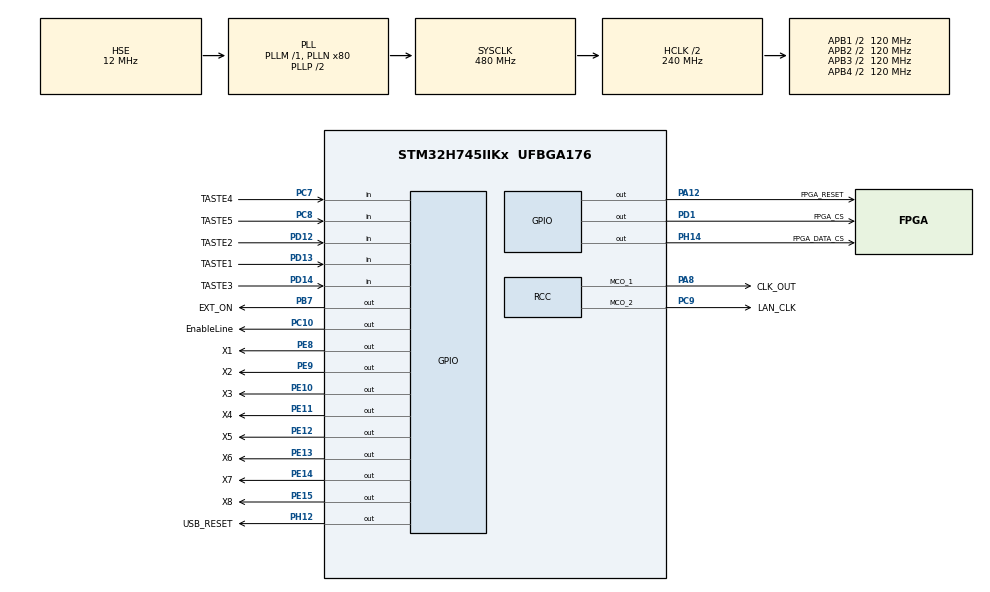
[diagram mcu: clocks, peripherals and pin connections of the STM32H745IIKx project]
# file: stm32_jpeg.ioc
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CORTEX_M7.CPU_DCache=Enabled
CORTEX_M7.CPU_ICache=Enabled
CortexM4.IPs=CORTEX_M4\:I,DEBUG,FATFS_M4\:I,FREERTOS_M4\:I,IWDG2\:I,OPENAMP_M4\:I,PDM2PCM_M4\:I,PWR,RCC,RESMGR_UTILITY,SYS_M4\:I,USB_DEVICE_M4\:I,USB_HOST_M4\:I,VREFBUF,WWDG2\:I,DMA,BDMA,MDMA,NVIC2\:I,GPIO
CortexM7.IPs=CORTEX_M7\:I,DEBUG\:I,FATFS_M7\:I,FREERTOS_M7\:I,IWDG1\:I,OPENAMP_M7\:I,PDM2PCM_M7\:I,PWR\:I,RCC\:I,RESMGR_UTILITY\:I,SYS\:I,USB_DEVICE_M7\:I,USB_HOST_M7\:I,VREFBUF\:I,WWDG1\:I,DMA\:I,BDMA\:I,MDMA\:I,NVIC1\:I,GPIO\:I,CRC\:I,JPEG\:I
CortexM7.Pins=PD1,PB7,PH14,PA12,PC10,PC8,PC7,PD14,PD13,PD12,PE14,PE8,PH12,PE12,PE13,PE15,PE10,PE9,PE11
JPEG.JPEG_RGB_FORMAT=JPEG_RGB888
JPEG.USE_JPEG_DECODER=0
Mcu.Family=STM32H7
Mcu.Name=STM32H745IIKx
Mcu.Package=UFBGA176
NVIC1.JPEG_IRQn=true\:0\:0\:false\:false\:true\:true\:true\:true
NVIC1.PriorityGroup=NVIC_PRIORITYGROUP_4
NVIC2.PriorityGroup=NVIC_PRIORITYGROUP_4
PA12.GPIO_Label=FPGA_RESET
PA12.PinAttribute=CortexM7
PA12.Signal=GPIO_Output
PA13\ (JTMS/SWDIO).Mode=JTAG_5_pins
PA13\ (JTMS/SWDIO).PinAttribute=CortexM7
PA13\ (JTMS/SWDIO).Signal=DEBUG_JTMS-SWDIO
PA14\ (JTCK/SWCLK).Mode=JTAG_5_pins
PA14\ (JTCK/SWCLK).PinAttribute=CortexM7
PA14\ (JTCK/SWCLK).Signal=DEBUG_JTCK-SWCLK
PA15\ (JTDI).Mode=JTAG_5_pins
PA15\ (JTDI).PinAttribute=CortexM7
PA15\ (JTDI).Signal=DEBUG_JTDI
PA8.GPIO_Label=CLK_OUT
PA8.GPIO_Speed=GPIO_SPEED_FREQ_VERY_HIGH
PA8.Mode=Clock-out-1
PA8.PinAttribute=CortexM7
PA8.Signal=RCC_MCO_1
PB3\ (JTDO/TRACESWO).Mode=JTAG_5_pins
PB3\ (JTDO/TRACESWO).PinAttribute=CortexM7
PB3\ (JTDO/TRACESWO).Signal=DEBUG_JTDO-SWO
PB4\ (NJTRST).Mode=JTAG_5_pins
PB4\ (NJTRST).PinAttribute=CortexM7
PB4\ (NJTRST).Signal=DEBUG_JTRST
PB7.GPIO_Label=EXT_ON
PB7.PinAttribute=CortexM7
PB7.Signal=GPIO_Output
PC10.GPIO_Label=EnableLine
PC10.PinAttribute=CortexM7
PC10.Signal=GPIO_Output
PC7.GPIO_Label=TASTE4
PC7.PinAttribute=CortexM7
PC7.Signal=GPIO_Input
PC8.GPIO_Label=TASTE5
PC8.PinAttribute=CortexM7
PC8.Signal=GPIO_Input
PC9.GPIO_Label=LAN_CLK
PC9.GPIO_Speed=GPIO_SPEED_FREQ_VERY_HIGH
PC9.Mode=Clock-out-2
PC9.PinAttribute=CortexM7
PC9.Signal=RCC_MCO_2
PD1.GPIO_Label=FPGA_CS
PD1.PinAttribute=CortexM7
PD1.Signal=GPIO_Output
PD12.GPIO_Label=TASTE2
PD12.PinAttribute=CortexM7
PD12.Signal=GPIO_Input
PD13.GPIO_Label=TASTE1
PD13.PinAttribute=CortexM7
PD13.Signal=GPIO_Input
PD14.GPIO_Label=TASTE3
PD14.PinAttribute=CortexM7
PD14.Signal=GPIO_Input
PE10.GPIO_Label=X3
PE10.PinAttribute=CortexM7
PE10.Signal=GPIO_Output
PE11.GPIO_Label=X4
PE11.PinAttribute=CortexM7
PE11.Signal=GPIO_Output
PE12.GPIO_Label=X5
PE12.PinAttribute=CortexM7
PE12.Signal=GPIO_Output
PE13.GPIO_Label=X6
PE13.PinAttribute=CortexM7
PE13.Signal=GPIO_Output
PE14.GPIO_Label=X7
PE14.PinAttribute=CortexM7
PE14.Signal=GPIO_Output
PE15.GPIO_Label=X8
PE15.PinAttribute=CortexM7
PE15.Signal=GPIO_Output
PE5.PinAttribute=CortexM7
PE5.Signal=S_TIM15_CH1
PE8.GPIO_Label=X1
PE8.PinAttribute=CortexM7
PE8.Signal=GPIO_Output
PE9.GPIO_Label=X2
PE9.PinAttribute=CortexM7
PE9.Signal=GPIO_Output
PH0-OSC_IN\ (PH0).Mode=HSE-External-Oscillator
PH0-OSC_IN\ (PH0).PinAttribute=CortexM7
PH0-OSC_IN\ (PH0).Signal=RCC_OSC_IN
PH1-OSC_OUT\ (PH1).Mode=HSE-External-Oscillator
PH1-OSC_OUT\ (PH1).PinAttribute=CortexM7
PH1-OSC_OUT\ (PH1).Signal=RCC_OSC_OUT
PH12.GPIO_Label=USB_RESET
PH12.GPIO_Speed=GPIO_SPEED_FREQ_LOW
PH12.PinAttribute=CortexM7
PH12.PinState=GPIO_PIN_RESET
PH12.Signal=GPIO_Output
PH14.GPIO_Label=FPGA_DATA_CS
PH14.GPIO_Speed=GPIO_SPEED_FREQ_LOW
PH14.PinAttribute=CortexM7
PH14.Signal=GPIO_Output
PH4.PinAttribute=CortexM7
PH4.Signal=I2C2_SCL
PH5.PinAttribute=CortexM7
PH5.Signal=I2C2_SDA
ProjectManager.HeapSize=M4-0x200,M7-0x200
ProjectManager.StackSize=M4-0x400,M7-0x400
ProjectManager.TargetToolchain=STM32CubeIDE
RCC.ADCFreq_Value=150000000
RCC.APB1Freq_Value=120000000
RCC.APB2Freq_Value=120000000
RCC.APB3Freq_Value=120000000
RCC.APB4Freq_Value=120000000
RCC.CortexFreq_Value=480000000
RCC.D1PPRE=RCC_APB3_DIV2
RCC.D2PPRE1=RCC_APB1_DIV2
RCC.D2PPRE2=RCC_APB2_DIV2
RCC.D3PPRE=RCC_APB4_DIV2
RCC.DIVM1=1
RCC.DIVM2=1
RCC.DIVM3=6
RCC.DIVN1=80
RCC.DIVN2=12
RCC.DIVN3=96
RCC.DIVP2=1
RCC.DIVQ1=4
RCC.DIVR2=1
RCC.HCLKFreq_Value=240000000
RCC.HPRE=RCC_HCLK_DIV2
RCC.HSE_VALUE=12000000
RCC.I2C123CLockSelection=RCC_I2C123CLKSOURCE_HSI
RCC.PLL2FRACN=4096
RCC.PLL3FRACN=0
RCC.PLLFRACN=0
RCC.PLLSourceVirtual=RCC_PLLSOURCE_HSE
RCC.PWR_Regulator_Voltage_Scale=PWR_REGULATOR_VOLTAGE_SCALE0
RCC.QSPICLockSelection=RCC_QSPICLKSOURCE_PLL2
RCC.RCC_MCO1Source=RCC_MCO1SOURCE_PLL1QCLK
RCC.RCC_MCO2Source=RCC_MCO2SOURCE_PLL2PCLK
RCC.RCC_MCODiv1=RCC_MCODIV_10
RCC.RCC_MCODiv2=RCC_MCODIV_3
RCC.SPI123CLockSelection=RCC_SPI123CLKSOURCE_PLL2
RCC.SYSCLKFreq_VALUE=480000000
RCC.SYSCLKSource=RCC_SYSCLKSOURCE_PLLCLK
RCC.SupplySource=PWR_LDO_SUPPLY
RCC.USBCLockSelection=RCC_USBCLKSOURCE_HSI48
RCC.USBFreq_Value=48000000
RCC.VDD_VALUE=1.8
SH.S_TIM15_CH1.0=TIM15_CH1
SYS.userName=SYS_M7
VP_CRC_VS_CRC.Mode=CRC_Activate
VP_JPEG_VS_JPEG.Mode=JPEG_Activate
VP_SYS_M4_VS_Systick.Mode=SysTick
board=custom

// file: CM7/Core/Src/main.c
/* USER CODE BEGIN Header */
/**
  ******************************************************************************
  * @file           : main.c
  * @brief          : Main program body
  ******************************************************************************
  * @attention
  *
  * Copyright (c) 2025 STMicroelectronics.
  * All rights reserved.
  *
  * This software is licensed under terms that can be found in the LICENSE file
  * in the root directory of this software component.
  * If no LICENSE file comes with this software, it is provided AS-IS.
  *
  ******************************************************************************
  */
/* USER CODE END Header */
#include "main.h"
#include "crc.h"
#include "jpeg.h"
#include "gpio.h"

/* USER CODE BEGIN Includes */
#include "jpeg_utils.h"
#include "encode_dma.h"

#include "string.h"
#include "stdio.h"
/* USER CODE END Includes */

/* USER CODE BEGIN PD */

#ifndef HSEM_ID_0
#define HSEM_ID_0 (0U) /* HW semaphore 0*/
#endif

/* USER CODE END PD */

void SystemClock_Config(void);
void PeriphCommonClock_Config(void);

/* USER CODE BEGIN 0 */
void __SystemClock_Config__(void)
{
	RCC_OscInitTypeDef RCC_OscInitStruct = {0};
	RCC_ClkInitTypeDef RCC_ClkInitStruct = {0};

	/** Supply configuration update enable
	 */
	HAL_PWREx_ConfigSupply(PWR_DIRECT_SMPS_SUPPLY);

	/** Configure the main internal regulator output voltage
	 */
	__HAL_PWR_VOLTAGESCALING_CONFIG(PWR_REGULATOR_VOLTAGE_SCALE1);

	while(!__HAL_PWR_GET_FLAG(PWR_FLAG_VOSRDY)) {}

	/** Initializes the RCC Oscillators according to the specified parameters
	 * in the RCC_OscInitTypeDef structure.
	 */
	RCC_OscInitStruct.OscillatorType = RCC_OSCILLATORTYPE_HSI48|RCC_OSCILLATORTYPE_HSI
			|RCC_OSCILLATORTYPE_LSI|RCC_OSCILLATORTYPE_HSE;
	RCC_OscInitStruct.HSEState = RCC_HSE_ON;
	RCC_OscInitStruct.HSIState = RCC_HSI_DIV1;
	RCC_OscInitStruct.HSICalibrationValue = RCC_HSICALIBRATION_DEFAULT;
	RCC_OscInitStruct.LSIState = RCC_LSI_ON;
	RCC_OscInitStruct.HSI48State = RCC_HSI48_ON;
	RCC_OscInitStruct.PLL.PLLState = RCC_PLL_ON;
	RCC_OscInitStruct.PLL.PLLSource = RCC_PLLSOURCE_HSE;
	RCC_OscInitStruct.PLL.PLLM = 1;
	RCC_OscInitStruct.PLL.PLLN = 60;
	RCC_OscInitStruct.PLL.PLLP = 2;
	RCC_OscInitStruct.PLL.PLLQ = 2;
	RCC_OscInitStruct.PLL.PLLR = 2;
	RCC_OscInitStruct.PLL.PLLRGE = RCC_PLL1VCIRANGE_3;
	RCC_OscInitStruct.PLL.PLLVCOSEL = RCC_PLL1VCOWIDE;
	RCC_OscInitStruct.PLL.PLLFRACN = 0;
	if (HAL_RCC_OscConfig(&RCC_OscInitStruct) != HAL_OK)
	{
		Error_Handler();
	}

	/** Initializes the CPU, AHB and APB buses clocks
	 */
	RCC_ClkInitStruct.ClockType = RCC_CLOCKTYPE_HCLK|RCC_CLOCKTYPE_SYSCLK
			|RCC_CLOCKTYPE_PCLK1|RCC_CLOCKTYPE_PCLK2
			|RCC_CLOCKTYPE_D3PCLK1|RCC_CLOCKTYPE_D1PCLK1;
	RCC_ClkInitStruct.SYSCLKSource = RCC_SYSCLKSOURCE_PLLCLK;
	RCC_ClkInitStruct.SYSCLKDivider = RCC_SYSCLK_DIV1;
	RCC_ClkInitStruct.AHBCLKDivider = RCC_HCLK_DIV2;
	RCC_ClkInitStruct.APB3CLKDivider = RCC_APB3_DIV2;
	RCC_ClkInitStruct.APB1CLKDivider = RCC_APB1_DIV2;
	RCC_ClkInitStruct.APB2CLKDivider = RCC_APB2_DIV2;
	RCC_ClkInitStruct.APB4CLKDivider = RCC_APB4_DIV2;

	if (HAL_RCC_ClockConfig(&RCC_ClkInitStruct, FLASH_LATENCY_2) != HAL_OK)
	{
		Error_Handler();
	}
	HAL_RCC_MCOConfig(RCC_MCO1, RCC_MCO1SOURCE_PLL1QCLK, RCC_MCODIV_15);
	HAL_RCC_MCOConfig(RCC_MCO2, RCC_MCO2SOURCE_PLL2PCLK, RCC_MCODIV_6);
}

uint8_t ycbcr_tmp[IMG_HEIGHT*IMG_WIDTH*3];
uint8_t jpgBuffer[1024*70] = {0};

//extern __IO uint32_t Jpeg_HWEncodingEnd;
uint32_t jpgsize;

//uint32_t RGB_ImageAddress = {0};
//uint32_t tickstart;

/* USER CODE END 0 */

int main(void)
{

/* USER CODE BEGIN Boot_Mode_Sequence_0 */
  //int32_t timeout;
/* USER CODE END Boot_Mode_Sequence_0 */

  /* Enable the CPU Cache */

  /* Enable I-Cache---------------------------------------------------------*/
  SCB_EnableICache();

  /* Enable D-Cache---------------------------------------------------------*/
  SCB_EnableDCache();

/* USER CODE BEGIN Boot_Mode_Sequence_1 */
  //SCB_DisableDCache();//wenn SCB_EnableDCache funktioniert der USB nicht
  /* Wait until CPU2 boots and enters in stop mode or timeout*/
//  timeout = 0xFFFF;
//  while((__HAL_RCC_GET_FLAG(RCC_FLAG_D2CKRDY) != RESET) && (timeout-- > 0));
//  if ( timeout < 0 )
//  {
//  Error_Handler();
//  }
/* USER CODE END Boot_Mode_Sequence_1 */
  /* MCU Configuration--------------------------------------------------------*/

  /* Reset of all peripherals, Initializes the Flash interface and the Systick. */
  HAL_Init();

  /* USER CODE BEGIN Init */
  __SystemClock_Config__();
  /* USER CODE END Init */

/* USER CODE BEGIN Boot_Mode_Sequence_2 */
/* When system initialization is finished, Cortex-M7 will release Cortex-M4 by means of
HSEM notification */
/*HW semaphore Clock enable*/
__HAL_RCC_HSEM_CLK_ENABLE();
/*Take HSEM */
HAL_HSEM_FastTake(HSEM_ID_0);
/*Release HSEM in order to notify the CPU2(CM4)*/
HAL_HSEM_Release(HSEM_ID_0,0);
/* wait until CPU2 wakes up from stop mode */
//timeout = 0xFFFF;
//while((__HAL_RCC_GET_FLAG(RCC_FLAG_D2CKRDY) == RESET) && (timeout-- > 0));
//if ( timeout < 0 )
//{
//Error_Handler();
//}
/* USER CODE END Boot_Mode_Sequence_2 */

  /* Initialize all configured peripherals */
  MX_GPIO_Init();
  MX_CRC_Init();
  MX_JPEG_Init();
  /* USER CODE BEGIN 2 */

  X2_Pin_On;
     JPEG_InitColorTables();

//JPEG_Encode_HW

     memset(&jpgBuffer[0],0,sizeof(jpgBuffer));
     memset(&ycbcr_tmp[0],0,sizeof(ycbcr_tmp));
     SCB_CleanInvalidateDCache();
     SCB_InvalidateICache();
     jpgsize = JPEG_Encode_HW(&hjpeg, (uint8_t*)&Image_RGB888[0], IMG_WIDTH, IMG_HEIGHT, BYTESPERPIXEL, 50, ycbcr_tmp, &jpgBuffer[0]);
     X2_Pin_Off;
//10412

//JPEG_Encode_HW_DMA
//     memset(&jpgBuffer[0],0,sizeof(jpgBuffer));
//     memset(&ycbcr_tmp[0],0,sizeof(ycbcr_tmp));
//     SCB_CleanInvalidateDCache();
//     SCB_InvalidateICache();
//     JPEG_Encode_HW_DMA(&hjpeg, (uint8_t*)&Image_RGB888[0], IMG_WIDTH, IMG_HEIGHT, BYTESPERPIXEL, 50, ycbcr_tmp, &jpgBuffer[0]);

     /* Wait till end of JPEG encoding and perform Input/Output Processing in BackGround  */

  /* USER CODE END 2 */

  /* Infinite loop */
  /* USER CODE BEGIN WHILE */
  while (1)
  {
	  X1_Pin_Toggle;
	  /* USER CODE END WHILE */

  }
}

void SystemClock_Config(void)
{
  RCC_OscInitTypeDef RCC_OscInitStruct = {0};
  RCC_ClkInitTypeDef RCC_ClkInitStruct = {0};

  /** Supply configuration update enable
  */
  HAL_PWREx_ConfigSupply(PWR_LDO_SUPPLY);

  /** Configure the main internal regulator output voltage
  */
  __HAL_PWR_VOLTAGESCALING_CONFIG(PWR_REGULATOR_VOLTAGE_SCALE1);

  while(!__HAL_PWR_GET_FLAG(PWR_FLAG_VOSRDY)) {}

  __HAL_RCC_SYSCFG_CLK_ENABLE();
  __HAL_PWR_VOLTAGESCALING_CONFIG(PWR_REGULATOR_VOLTAGE_SCALE0);

  while(!__HAL_PWR_GET_FLAG(PWR_FLAG_VOSRDY)) {}

  /** Initializes the RCC Oscillators according to the specified parameters
  * in the RCC_OscInitTypeDef structure.
  */
  RCC_OscInitStruct.OscillatorType = RCC_OSCILLATORTYPE_HSE;
  RCC_OscInitStruct.HSEState = RCC_HSE_ON;
  RCC_OscInitStruct.PLL.PLLState = RCC_PLL_ON;
  RCC_OscInitStruct.PLL.PLLSource = RCC_PLLSOURCE_HSE;
  RCC_OscInitStruct.PLL.PLLM = 1;
  RCC_OscInitStruct.PLL.PLLN = 80;
  RCC_OscInitStruct.PLL.PLLP = 2;
  RCC_OscInitStruct.PLL.PLLQ = 4;
  RCC_OscInitStruct.PLL.PLLR = 2;
  RCC_OscInitStruct.PLL.PLLRGE = RCC_PLL1VCIRANGE_3;
  RCC_OscInitStruct.PLL.PLLVCOSEL = RCC_PLL1VCOWIDE;
  RCC_OscInitStruct.PLL.PLLFRACN = 0;
  if (HAL_RCC_OscConfig(&RCC_OscInitStruct) != HAL_OK)
  {
    Error_Handler();
  }

  /** Initializes the CPU, AHB and APB buses clocks
  */
  RCC_ClkInitStruct.ClockType = RCC_CLOCKTYPE_HCLK|RCC_CLOCKTYPE_SYSCLK
                              |RCC_CLOCKTYPE_PCLK1|RCC_CLOCKTYPE_PCLK2
                              |RCC_CLOCKTYPE_D3PCLK1|RCC_CLOCKTYPE_D1PCLK1;
  RCC_ClkInitStruct.SYSCLKSource = RCC_SYSCLKSOURCE_PLLCLK;
  RCC_ClkInitStruct.SYSCLKDivider = RCC_SYSCLK_DIV1;
  RCC_ClkInitStruct.AHBCLKDivider = RCC_HCLK_DIV2;
  RCC_ClkInitStruct.APB3CLKDivider = RCC_APB3_DIV2;
  RCC_ClkInitStruct.APB1CLKDivider = RCC_APB1_DIV2;
  RCC_ClkInitStruct.APB2CLKDivider = RCC_APB2_DIV2;
  RCC_ClkInitStruct.APB4CLKDivider = RCC_APB4_DIV2;

  if (HAL_RCC_ClockConfig(&RCC_ClkInitStruct, FLASH_LATENCY_4) != HAL_OK)
  {
    Error_Handler();
  }
  __HAL_RCC_PLLCLKOUT_ENABLE(RCC_PLL1_DIVQ);
  HAL_RCC_MCOConfig(RCC_MCO1, RCC_MCO1SOURCE_PLL1QCLK, RCC_MCODIV_10);
  __HAL_RCC_PLL2CLKOUT_ENABLE(RCC_PLL2_DIVP);
  HAL_RCC_MCOConfig(RCC_MCO2, RCC_MCO2SOURCE_PLL2PCLK, RCC_MCODIV_3);
}

void PeriphCommonClock_Config(void)
{

  /** Enables PLL2P clock output
  */
  __HAL_RCC_PLL2_CONFIG(1, 12, 1, 2, 1);
  __HAL_RCC_PLL2_VCIRANGE(RCC_PLL2VCIRANGE_3);
  __HAL_RCC_PLL2_VCORANGE(RCC_PLL2VCOMEDIUM);
  __HAL_RCC_PLL2_ENABLE();
}

void Error_Handler(void)
{
  __disable_irq();
  while (1)
  {
  }
}
